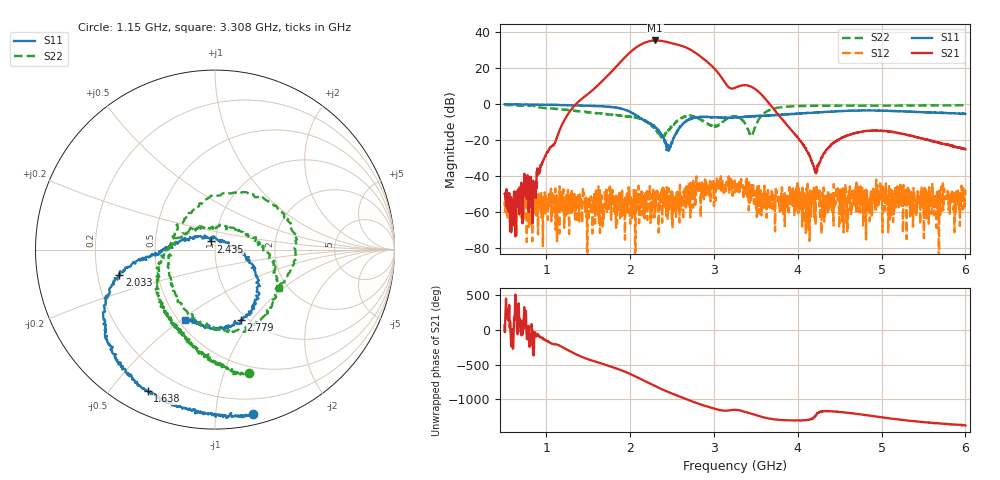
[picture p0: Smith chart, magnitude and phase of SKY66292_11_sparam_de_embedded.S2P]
! SKY66292-11
! S-PARAMETERS_DE-EMBEDDED
! VCC1 = VCC2 = VCC3 = VBIAS = 5.00VDC
! PA_ENABLE = 2.00VDC
! START FREQUENCY = 500MHZ
! STOP FREQUENCY = 6.0GHZ
! DATA POINTS = 1601
! CHARACTERISTIC IMPEDANCE = 50 OHMS
! AMBIENT TEMPERATURE = +25C
!Agilent Technologies,E5071C,MY46108160,A.09.30
!Date: Tue Nov 07 08:09:18 2017
!Data & Calibration Information:
!Freq	S11:SOLT2(ON)	S21:SOLT2(ON)	S12:SOLT2(ON)	S22:SOLT2(ON)
# Hz S dB R 50
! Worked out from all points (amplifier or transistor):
!   1601 points, 500 MHz to 6 GHz, reference 50 ohm
!   highest |S21| = 35.5 dB at 2.298 GHz (marker M1)
!   |S21| within 3 dB of that: 2.099 GHz to 2.614 GHz (515.1 MHz wide, 21.9 % of centre)
!   unconditionally stable (mu >= 1): start of sweep to end of sweep
!   at 1.414 GHz: K = 21.42, MAG = 12.3 dB, |S12| = -54.6 dB
!   at 3.25 GHz: K = 33.34, MAG = 11.0 dB, |S12| = -49.3 dB
!   at 6 GHz: K = 395.21, MAG = -15.1 dB, |S12| = -53.0 dB
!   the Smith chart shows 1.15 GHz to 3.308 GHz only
!   S11 on the Smith chart (normalised r, x): 1.15 GHz: 0.08, -1.25; 1.638 GHz: 0.09, -0.63; 2.033 GHz: 0.29, -0.12; 2.435 GHz: 0.95, +0.09; 2.779 GHz: 0.94, -0.89; 3.308 GHz: 0.54, -0.52
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5e8  -0.12 -31.6  -49.92 70.3  -56.84 -94.5  -0.48 -31.5
1.149688e9  -0.54 -77.1  -15.39 137.3  -57.49 126.9  -2.92 -74.7
1.417812e9  -0.73 -96.9  2.81 -26.5  -53.56 -106.9  -4.12 -90.1
1.637812e9  -1.17 -115.3  11.64 -116.6  -71.88 115.4  -5.17 -102.1
1.905938e9  -2.75 -147.6  24.57 134.4  -58.35 -100.3  -6.39 -118.8
2.033125e9  -5.17 -165.2  30.26 67.8  -61.06 -113.6  -7.19 -132.2
2.098438e9  -6.93 -171.2  32.45 30.0  -45.45 89.4  -7.87 -142.8
2.174062e9  -9.11 -175.9  34.26 -15.3  -56.15 -16.1  -9.55 -158.5
2.229062e9  -10.78 -179.7  35.03 -47.9  -53.18 77.0  -10.87 -173.2
2.297812e9  -12.74 172.4  35.46 -88.5  -59.94 102.0  -13.81 154.5
2.335625e9  -14.36 161.2  35.42 -110.3  -55.16 176.7  -16.10 130.4
2.435312e9  -25.78 117.7  34.61 -163.4  -46.26 6.7  -16.23 39.2
2.5075e9  -19.79 13.1  33.81 161.5  -51.48 14.2  -12.06 9.7
2.60375e9  -12.49 -25.5  32.59 116.2  -51.21 145.9  -7.77 -29.9
2.703438e9  -8.68 -52.6  30.68 68.5  -49.29 143.7  -6.63 -68.6
2.779062e9  -7.60 -69.6  28.54 33.9  -55.64 139.3  -7.28 -95.6
2.9475e9  -7.19 -94.5  22.33 -32.1  -51.27 147.1  -11.69 -166.4
3.25e9  -7.46 -110.7  9.10 -67.9  -49.29 2.4  -6.96 -1.5
3.308438e9  -7.34 -113.3  10.14 -77.1  -43.61 -5.6  -7.61 -30.7
4.167812e9  -4.78 -151.9  -32.01 157.7  -54.83 -4.3  -1.00 -30.3
5.085625e9  -3.77 -177.0  -15.23 170.3  -51.51 -89.9  -0.88 -100.3
6e9  -5.44 162.5  -25.19 67.0  -53.00 -14.8  -0.64 -136.6
